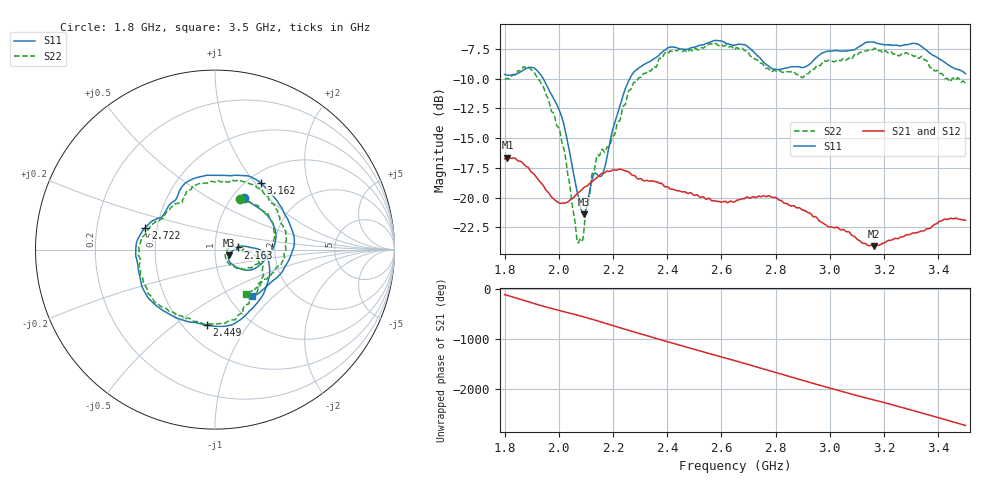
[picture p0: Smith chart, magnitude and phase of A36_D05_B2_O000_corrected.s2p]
! Created with skrf 1.9.0 (http://scikit-rf.org).
# Hz S RI R 50.0
!freq ReS11 ImS11 ReS21 ImS21 ReS12 ImS12 ReS22 ImS22
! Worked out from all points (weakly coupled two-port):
!   1601 points, 1.8 GHz to 3.5 GHz, reference 50 ohm
!   highest |S21| = -16.65 dB at 1.811 GHz (marker M1); lowest = -24.1 dB at 3.163 GHz (marker M2)
!   lowest |S11| = -21.4 dB at 2.092 GHz (marker M3), VSWR 1.19, Z = 58.5 - j3.7 ohm
!   |S11| at or under -10 dB: 1.943 GHz to 2.261 GHz (318.2 MHz wide, 15.1 % of centre)
!   |S22| runs from -23.8 to -7.0 dB; largest |S21 - S12| = 0.0025
!   S11 on the Smith chart (normalised r, x): 1.8 GHz: 1.13, +0.73; 2.163 GHz: 1.29, +0.03; 2.449 GHz: 0.65, -0.66; 2.722 GHz: 0.43, +0.13; 3.162 GHz: 1.14, +1.07; 3.5 GHz: 1.28, -0.75
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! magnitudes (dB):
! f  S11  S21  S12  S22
! 1.8 GHz  -9.6  -16.7  -16.7  -10.0
! 1.811 GHz  -9.7  -16.6  -16.7  -10.0
! 1.886 GHz  -9.1  -17.4  -17.5  -9.0
! 1.941 GHz  -9.9  -19.0  -19.0  -10.6
! 2.013 GHz  -13.3  -20.5  -20.5  -15.5
! 2.066 GHz  -19.3  -19.7  -19.7  -23.3
! 2.084 GHz  -21.1  -19.4  -19.3  -23.5
! 2.092 GHz  -21.4  -19.2  -19.2  -22.9
! 2.128 GHz  -18.1  -18.6  -18.6  -17.9
! 2.163 GHz  -17.9  -18.0  -17.9  -16.0
! 2.259 GHz  -10.1  -17.9  -17.9  -11.0
! 2.367 GHz  -8.1  -18.7  -18.7  -8.5
! 2.449 GHz  -7.5  -19.5  -19.5  -7.6
! 2.65 GHz  -7.2  -20.3  -20.3  -7.5
! 2.722 GHz  -7.8  -20.0  -19.9  -8.3
! 2.797 GHz  -9.2  -20.0  -20.0  -9.3
! 2.934 GHz  -8.6  -21.5  -21.5  -9.2
! 3.162 GHz  -6.9  -24.1  -24.1  -7.5
! 3.163 GHz  -6.9  -24.1  -24.1  -7.4
! 3.217 GHz  -7.1  -23.6  -23.6  -7.8
! 3.324 GHz  -7.1  -23.0  -22.9  -8.2
! 3.5 GHz  -9.6  -21.9  -21.9  -10.4
